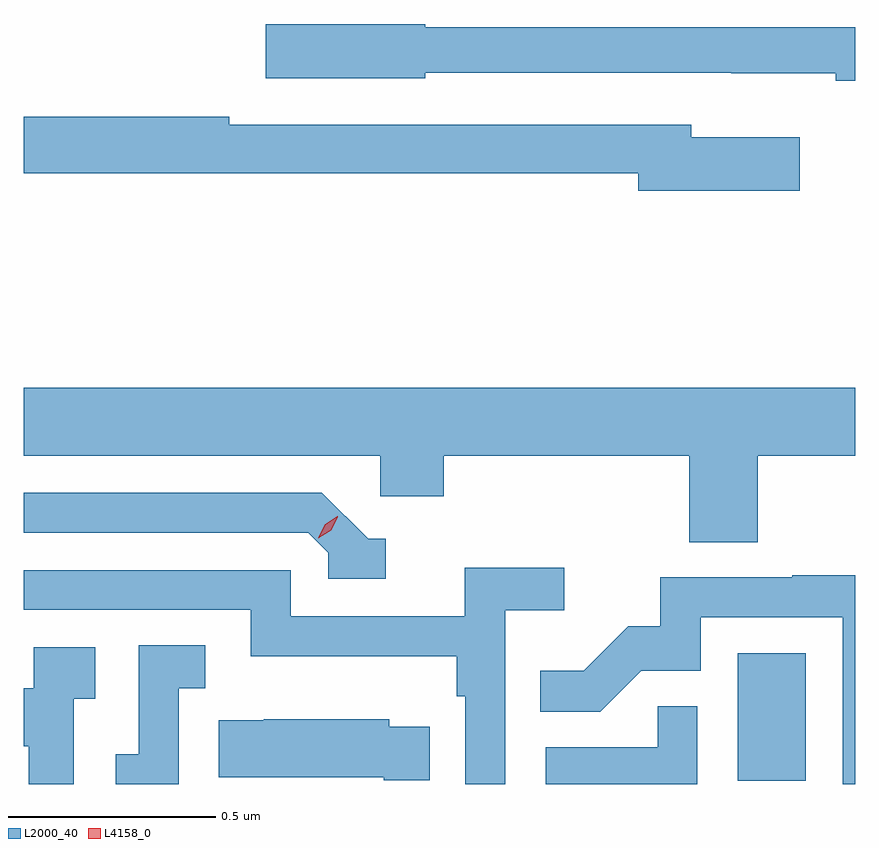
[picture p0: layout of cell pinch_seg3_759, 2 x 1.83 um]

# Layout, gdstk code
import gdstk
lib = gdstk.Library(unit=1e-6, precision=1e-09)
def R(c, l, rs):  # rectangles x0, y0, x1, y1
    for r in rs: c.add(gdstk.rectangle(r[:2], r[2:], *l))
def P(c, l, *ps):  # polygons
    for p in ps: c.add(gdstk.Polygon(p, *l))
L2000_40 = (2000, 40)
L4158_0 = (4158, 0)

pinch_seg3_759 = lib.new_cell('pinch_seg3_759')
R(pinch_seg3_759, L2000_40, [(838.466,745.422,838.63,745.729)])
P(pinch_seg3_759, L2000_40, [(838.748,747.235),(837.714,747.235),(837.714,747.243),(837.33,747.243),(837.33,747.113),(837.714,747.113),(837.714,747.126),(838.45,747.126),(838.45,747.125),(838.702,747.125),(838.702,747.106),(838.748,747.106)],
  [(838.615,746.971),(838.354,746.971),(838.354,747),(837.242,747),(837.242,747.02),(836.748,747.02),(836.748,746.884),(838.226,746.884),(838.226,746.842),(838.615,746.842)],
  [(838.514,746.204),(838.748,746.204),(838.748,746.368),(836.748,746.368),(836.748,746.204),(837.606,746.204),(837.606,746.106),(837.758,746.106),(837.758,746.204),(838.349,746.204),(838.349,745.996),(838.514,745.996)],
  [(837.619,746.004),(837.576,746.004),(837.465,746.115),(836.748,746.115),(836.748,746.019),(837.432,746.019),(837.48,745.971),(837.48,745.908),(837.619,745.908)],
  [(837.906,745.832),(838.048,745.832),(838.048,745.934),(837.809,745.934),(837.809,745.818),(837.39,745.818),(837.39,745.929),(836.748,745.929),(836.748,745.833),(837.294,745.833),(837.294,745.721),(837.79,745.721),(837.79,745.625),(837.81,745.625),(837.81,745.414),(837.906,745.414)],
  [(838.748,745.916),(838.597,745.916),(838.597,745.911),(838.279,745.911),(838.279,745.794),(838.202,745.794),(838.095,745.687),(837.991,745.687),(837.991,745.588),(838.135,745.588),(838.233,745.686),(838.377,745.686),(838.377,745.815),(838.719,745.815),(838.719,745.414),(838.748,745.414)],
  [(837.12,745.645),(837.184,745.645),(837.184,745.748),(837.024,745.748),(837.024,745.485),(836.969,745.485),(836.969,745.414),(837.12,745.414)],
  [(836.868,745.619),(836.92,745.619),(836.92,745.743),(836.772,745.743),(836.772,745.645),(836.748,745.645),(836.748,745.505),(836.76,745.505),(836.76,745.414),(836.868,745.414)],
  [(838.368,745.601),(838.273,745.601),(838.273,745.503),(838.004,745.503),(838.004,745.414),(838.368,745.414)],
  [(837.725,745.552),(837.627,745.552),(837.627,745.57),(837.325,745.57),(837.325,745.567),(837.217,745.567),(837.217,745.43),(837.614,745.43),(837.614,745.423),(837.725,745.423)])
P(pinch_seg3_759, L4158_0, [(837.456,746.005),(837.456,746.005),(837.472,746.038),(837.502,746.058),(837.503,746.058),(837.503,746.057),(837.487,746.025),(837.456,746.005)])

lib.write_gds('pinch_seg3_759.gds')
